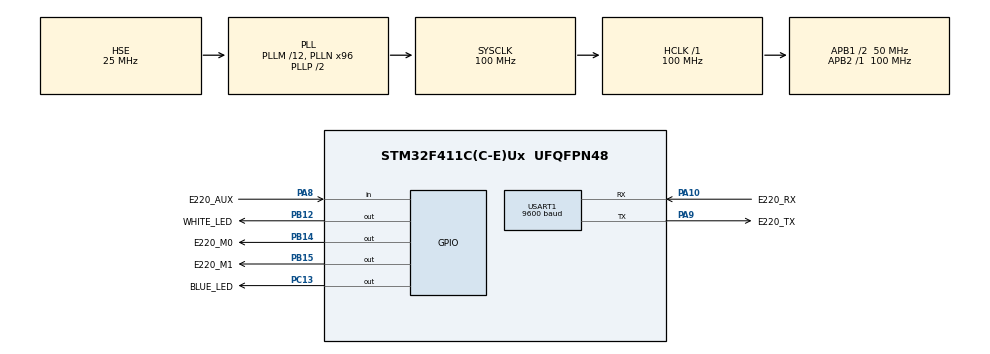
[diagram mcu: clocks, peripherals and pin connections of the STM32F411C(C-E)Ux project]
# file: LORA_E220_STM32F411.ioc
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Mcu.Family=STM32F4
Mcu.Name=STM32F411C(C-E)Ux
Mcu.Package=UFQFPN48
NVIC.PriorityGroup=NVIC_PRIORITYGROUP_4
NVIC.TIM4_IRQn=true\:15\:0\:false\:false\:true\:false\:true\:true
NVIC.TimeBase=TIM4_IRQn
NVIC.TimeBaseIP=TIM4
PA10.GPIO_Label=E220_RX
PA10.Mode=Asynchronous
PA10.Signal=USART1_RX
PA13.Mode=Serial_Wire
PA13.Signal=SYS_JTMS-SWDIO
PA14.Mode=Serial_Wire
PA14.Signal=SYS_JTCK-SWCLK
PA8.GPIO_Label=E220_AUX
PA8.Signal=GPIO_Input
PA9.GPIO_Label=E220_TX
PA9.Mode=Asynchronous
PA9.Signal=USART1_TX
PB12.GPIO_Label=WHITE_LED
PB12.PinState=GPIO_PIN_SET
PB12.Signal=GPIO_Output
PB14.GPIO_Label=E220_M0
PB14.PinState=GPIO_PIN_SET
PB14.Signal=GPIO_Output
PB15.GPIO_Label=E220_M1
PB15.PinState=GPIO_PIN_SET
PB15.Signal=GPIO_Output
PC13-ANTI_TAMP.GPIO_Label=BLUE_LED
PC13-ANTI_TAMP.PinState=GPIO_PIN_SET
PC13-ANTI_TAMP.Signal=GPIO_Output
PH0\ -\ OSC_IN.Mode=HSE-External-Oscillator
PH0\ -\ OSC_IN.Signal=RCC_OSC_IN
PH1\ -\ OSC_OUT.Mode=HSE-External-Oscillator
PH1\ -\ OSC_OUT.Signal=RCC_OSC_OUT
ProjectManager.HeapSize=0x200
ProjectManager.StackSize=0x400
ProjectManager.TargetToolchain=STM32CubeIDE
RCC.48MHZClocksFreq_Value=50000000
RCC.AHBFreq_Value=100000000
RCC.APB1CLKDivider=RCC_HCLK_DIV2
RCC.APB1Freq_Value=50000000
RCC.APB1TimFreq_Value=100000000
RCC.APB2Freq_Value=100000000
RCC.APB2TimFreq_Value=100000000
RCC.CortexFreq_Value=100000000
RCC.HCLKFreq_Value=100000000
RCC.HSE_VALUE=25000000
RCC.HSI_VALUE=16000000
RCC.LSE_VALUE=32768
RCC.PLLM=12
RCC.PLLN=96
RCC.PLLSourceVirtual=RCC_PLLSOURCE_HSE
RCC.SYSCLKFreq_VALUE=100000000
RCC.SYSCLKSource=RCC_SYSCLKSOURCE_PLLCLK
RCC.VCOOutputFreq_Value=200000000
USART1.BaudRate=9600
USART1.VirtualMode=VM_ASYNC
VP_SYS_VS_tim4.Mode=TIM4
board=custom

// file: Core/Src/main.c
/* USER CODE BEGIN Header */
/**
  ******************************************************************************
  * @file           : main.c
  * @brief          : Main program body
  ******************************************************************************
  * @attention
  *
  * Copyright (c) 2025 STMicroelectronics.
  * All rights reserved.
  *
  * This software is licensed under terms that can be found in the LICENSE file
  * in the root directory of this software component.
  * If no LICENSE file comes with this software, it is provided AS-IS.
  *
  ******************************************************************************
  */
/* USER CODE END Header */
#include "main.h"
#include "usart.h"
#include "gpio.h"
#include <string.h>

void SystemClock_Config(void);

int main(void)
{

  /* USER CODE BEGIN 1 */
	uint8_t conf[3] = {0xC1, 0x00, 0x09};
	uint8_t resp[16] = {0};
	uint8_t wconf[16] = {0};
	char payload[20] = "Hello World!";
	char message[32] = {0};
	uint8_t count = 0;

  /* USER CODE END 1 */

  /* MCU Configuration--------------------------------------------------------*/

  /* Reset of all peripherals, Initializes the Flash interface and the Systick. */
  HAL_Init();

  /* Configure the system clock */
  SystemClock_Config();

  /* Initialize all configured peripherals */
  MX_GPIO_Init();
  MX_USART1_UART_Init();
  /* USER CODE BEGIN 2 */
//  HAL_GPIO_WritePin(E220_M0_GPIO_Port, E220_M0_Pin, GPIO_PIN_SET);
//  HAL_GPIO_WritePin(E220_M1_GPIO_Port, E220_M1_Pin, GPIO_PIN_SET);
//
//  HAL_Delay(500);
//  HAL_GPIO_WritePin(E220_M0_GPIO_Port, E220_M0_Pin, GPIO_PIN_RESET);
//  HAL_GPIO_WritePin(E220_M1_GPIO_Port, E220_M1_Pin, GPIO_PIN_RESET);
//
//  conf[0] = 0xC1;
//  conf[1] = 0x00;
//  conf[2] = 0x09;
//
//  HAL_Delay(500);
//  HAL_GPIO_WritePin(E220_M0_GPIO_Port, E220_M0_Pin, GPIO_PIN_SET);
//  HAL_GPIO_WritePin(E220_M1_GPIO_Port, E220_M1_Pin, GPIO_PIN_SET);

  HAL_UART_Transmit(&huart1, conf, 3, 1000);

  if (HAL_GPIO_ReadPin(E220_AUX_GPIO_Port, E220_AUX_Pin) == GPIO_PIN_RESET)
  {
	  HAL_UART_Receive(&huart1, resp, (3 + conf[2]), 1000);
  }
  else
  {
	  while(1);
  }

  HAL_Delay(20);

  wconf[0] = 0xC0;
  wconf[1] = 0;
  wconf[2] = 0x08;

  memcpy(&wconf[3], &resp[3], conf[2]);

  wconf[2 + 5] = 0x41;
  wconf[2 + 3] = 0x62;
  wconf[2 + 1] = 0x00;
  wconf[2 + 2] = 0x03;
  wconf[2 + 6] |= (1 << 6);

  memset(resp, 0, sizeof(resp));

  HAL_Delay(5);

  HAL_UART_Transmit(&huart1, wconf, (3 + wconf[2]), 1000);

  if (HAL_GPIO_ReadPin(E220_AUX_GPIO_Port, E220_AUX_Pin) == GPIO_PIN_RESET)
  {
	  HAL_UART_Receive(&huart1, resp, (3 + wconf[2]), 1000);
  }
  else
  {
	  while(1);
  }

  HAL_GPIO_WritePin(E220_M0_GPIO_Port, E220_M0_Pin, GPIO_PIN_RESET);
  HAL_GPIO_WritePin(E220_M1_GPIO_Port, E220_M1_Pin, GPIO_PIN_RESET);
  HAL_Delay(15);

//  while (HAL_GPIO_ReadPin(E220_AUX_GPIO_Port, E220_AUX_Pin) == GPIO_PIN_RESET);
  /* USER CODE END 2 */

  /* Infinite loop */
  /* USER CODE BEGIN WHILE */
  while (1)
  {

	  payload[12] = 0x30 + (count % 10);
	  message[0] = 0x00;	// ADDRH
	  message[1] = 0x01;	// ADDRL
	  message[2] = 0x41;	// CHAN
	  memcpy(&message[3], payload, strlen(payload));
	  HAL_UART_Transmit(&huart1, (uint8_t*)message, (3+strlen(payload)), 1000);
      count++;
	  HAL_Delay(500);
    /* USER CODE END WHILE */

  }
}

void SystemClock_Config(void)
{
  RCC_OscInitTypeDef RCC_OscInitStruct = {0};
  RCC_ClkInitTypeDef RCC_ClkInitStruct = {0};

  /** Configure the main internal regulator output voltage
  */
  __HAL_RCC_PWR_CLK_ENABLE();
  __HAL_PWR_VOLTAGESCALING_CONFIG(PWR_REGULATOR_VOLTAGE_SCALE1);

  /** Initializes the RCC Oscillators according to the specified parameters
  * in the RCC_OscInitTypeDef structure.
  */
  RCC_OscInitStruct.OscillatorType = RCC_OSCILLATORTYPE_HSE;
  RCC_OscInitStruct.HSEState = RCC_HSE_ON;
  RCC_OscInitStruct.PLL.PLLState = RCC_PLL_ON;
  RCC_OscInitStruct.PLL.PLLSource = RCC_PLLSOURCE_HSE;
  RCC_OscInitStruct.PLL.PLLM = 12;
  RCC_OscInitStruct.PLL.PLLN = 96;
  RCC_OscInitStruct.PLL.PLLP = RCC_PLLP_DIV2;
  RCC_OscInitStruct.PLL.PLLQ = 4;
  if (HAL_RCC_OscConfig(&RCC_OscInitStruct) != HAL_OK)
  {
    Error_Handler();
  }

  /** Initializes the CPU, AHB and APB buses clocks
  */
  RCC_ClkInitStruct.ClockType = RCC_CLOCKTYPE_HCLK|RCC_CLOCKTYPE_SYSCLK
                              |RCC_CLOCKTYPE_PCLK1|RCC_CLOCKTYPE_PCLK2;
  RCC_ClkInitStruct.SYSCLKSource = RCC_SYSCLKSOURCE_PLLCLK;
  RCC_ClkInitStruct.AHBCLKDivider = RCC_SYSCLK_DIV1;
  RCC_ClkInitStruct.APB1CLKDivider = RCC_HCLK_DIV2;
  RCC_ClkInitStruct.APB2CLKDivider = RCC_HCLK_DIV1;

  if (HAL_RCC_ClockConfig(&RCC_ClkInitStruct, FLASH_LATENCY_3) != HAL_OK)
  {
    Error_Handler();
  }
}

void HAL_TIM_PeriodElapsedCallback(TIM_HandleTypeDef *htim)
{
  if (htim->Instance == TIM4) {
    HAL_IncTick();
  }
}

void Error_Handler(void)
{
  __disable_irq();
  while (1)
  {
  }
}
